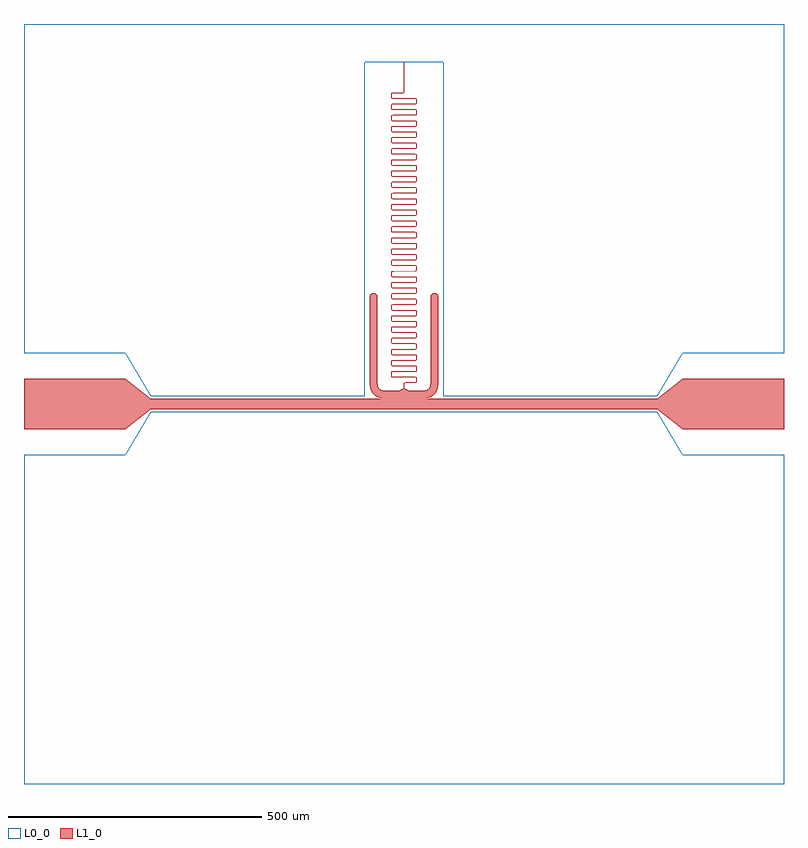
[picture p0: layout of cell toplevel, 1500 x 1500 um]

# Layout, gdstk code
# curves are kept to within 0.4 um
import gdstk
lib = gdstk.Library(unit=1e-6, precision=1e-09)
def P(c, l, *ps):  # polygons
    for p in ps: c.add(gdstk.Polygon(p, *l))
L0_0 = (0, 0)
L1_0 = (1, 0)

toplevel = lib.new_cell('toplevel')
P(toplevel, L0_0, [(77.5,675),(77.5,15),(500,15),(550,100),(750,100),(750,750),(-750,750),(-750,100),(-550,100),(-500,15),(-77.5,15),(-77.5,675)],
  [(750,-100),(550,-100),(500,-15),(-500,-15),(-550,-100),(-750,-100),(-750,-750),(750,-750)])
P(toplevel, L1_0, [(-60.327,218.493),(-63.17,217.797),(-65.53,216.067),(-67.048,213.565),(-67.5,211),(-67.466,42.294),(-66.361,32.299),(-63.309,24.269),(-59.261,18.96),(-54.07,15.101),(-47.508,12.466),(-39.892,11.211),(37.654,11.08),(46.853,12.295),(54.231,15.191),(59.678,19.38),(63.576,24.753),(66.164,31.484),(67.352,39.513),(67.5,211),(66.495,214.75),(63.17,217.797),(58.377,218.322),(54.47,216.067),(52.529,211.654),(52.486,43.498),(51.922,36.522),(50.334,31.8),(48.603,29.52),(46.053,27.837),(38.181,26.127),(-36.211,26.039),(-43.028,26.801),(-47.908,28.94),(-50.663,32.447),(-52.173,38.144),(-52.507,211.327),(-53.203,214.17),(-54.933,216.53),(-57.435,218.048)],
  [(0.5,31),(0.542,39.395),(0.892,40.54),(1.647,41.207),(3.309,41.498),(22.056,41.513),(23.416,41.743),(24.439,42.314),(25.209,43.449),(25.492,45.074),(25.462,50.413),(25.237,51.474),(24.782,52.322),(23.609,53.187),(21.852,53.495),(-22.765,53.601),(-23.43,53.83),(-23.923,54.208),(-24.254,54.752),(-24.442,55.48),(-24.486,61.057),(-24.353,61.956),(-24.056,62.621),(-23.194,63.275),(-21.742,63.497),(22.451,63.542),(23.855,63.925),(24.834,64.747),(25.365,65.971),(25.489,72.018),(25.257,73.416),(24.918,74.129),(24.422,74.7),(23.761,75.121),(22.951,75.382),(21.454,75.5),(-22.074,75.515),(-23.153,75.71),(-23.887,76.169),(-24.319,76.93),(-24.491,78.041),(-24.386,83.824),(-23.85,84.869),(-22.794,85.393),(-21.451,85.5),(22.262,85.525),(23.628,85.821),(24.627,86.496),(25.251,87.564),(25.49,89),(25.494,93.889),(25.3,95.281),(24.974,96.039),(24.488,96.642),(23.836,97.085),(23.009,97.37),(21.454,97.5),(-22.074,97.515),(-23.139,97.705),(-23.878,98.159),(-24.314,98.916),(-24.49,100.025),(-24.386,105.824),(-23.85,106.869),(-22.794,107.393),(-21.451,107.5),(22.262,107.525),(23.628,107.821),(24.627,108.496),(25.244,109.545),(25.489,110.982),(25.494,115.889),(25.3,117.281),(24.974,118.039),(24.488,118.642),(23.836,119.085),(23.009,119.37),(21.454,119.5),(-22.074,119.515),(-23.139,119.705),(-23.878,120.159),(-24.314,120.916),(-24.49,122.025),(-24.386,127.824),(-23.85,128.869),(-22.794,129.393),(-21.451,129.5),(22.262,129.525),(23.628,129.821),(24.627,130.496),(25.244,131.545),(25.488,132.963),(25.494,137.889),(25.3,139.281),(24.974,140.039),(24.488,140.642),(23.836,141.085),(23.009,141.37),(21.454,141.5),(-22.074,141.515),(-23.139,141.705),(-23.878,142.159),(-24.314,142.916),(-24.489,144.008),(-24.386,149.824),(-23.85,150.869),(-22.794,151.393),(-21.451,151.5),(22.262,151.525),(23.609,151.813),(24.612,152.48),(25.237,153.526),(25.487,154.944),(25.494,159.889),(25.3,161.281),(24.974,162.039),(24.488,162.642),(23.836,163.085),(23.009,163.37),(21.454,163.5),(-22.057,163.514),(-23.126,163.7),(-23.869,164.15),(-24.31,164.902),(-24.488,165.992),(-24.386,171.824),(-23.85,172.869),(-22.794,173.393),(-21.451,173.5),(22.262,173.525),(23.609,173.813),(24.612,174.48),(25.237,175.526),(25.486,176.926),(25.494,181.889),(25.3,183.281),(24.974,184.039),(24.488,184.642),(23.836,185.085),(23.009,185.37),(21.454,185.5),(-22.057,185.514),(-23.126,185.7),(-23.869,186.15),(-24.31,186.902),(-24.488,187.975),(-24.386,193.824),(-23.85,194.869),(-22.794,195.393),(-21.451,195.5),(22.243,195.524),(23.609,195.813),(24.597,196.465),(25.231,197.507),(25.485,198.907),(25.494,203.871),(25.3,205.281),(24.974,206.039),(24.488,206.642),(23.836,207.085),(23.009,207.37),(21.454,207.5),(-22.057,207.514),(-23.126,207.7),(-23.86,208.14),(-24.305,208.888),(-24.487,209.959),(-24.386,215.824),(-23.85,216.869),(-22.794,217.393),(-21.451,217.5),(22.243,217.524),(23.609,217.813),(24.597,218.465),(25.224,219.487),(25.484,220.888),(25.494,225.871),(25.3,227.281),(24.974,228.039),(24.488,228.642),(23.836,229.085),(23.009,229.37),(21.454,229.5),(-22.057,229.514),(-23.126,229.7),(-23.86,230.14),(-24.3,230.874),(-24.486,231.943),(-24.39,237.809),(-23.86,238.86),(-22.794,239.393),(-21.451,239.5),(22.243,239.524),(23.609,239.813),(24.597,240.465),(25.224,241.487),(25.483,242.87),(25.494,247.871),(25.306,249.261),(24.974,250.039),(24.488,250.642),(23.836,251.085),(23.009,251.37),(21.454,251.5),(-22.057,251.514),(-23.112,251.695),(-23.85,252.131),(-24.295,252.861),(-24.484,253.91),(-24.39,259.809),(-23.86,260.86),(-22.794,261.393),(-21.451,261.5),(22.243,261.524),(23.609,261.813),(24.597,262.465),(25.224,263.487),(25.482,264.851),(25.494,269.871),(25.306,271.261),(24.974,272.039),(24.488,272.642),(23.836,273.085),(23.009,273.37),(21.454,273.5),(-22.057,273.514),(-23.112,273.695),(-23.85,274.131),(-24.29,274.847),(-24.483,275.894),(-24.39,281.809),(-23.86,282.86),(-22.794,283.393),(-21.451,283.5),(22.243,283.524),(23.589,283.806),(24.582,284.449),(25.209,285.449),(25.48,286.814),(25.495,291.852),(25.306,293.261),(24.974,294.039),(24.488,294.642),(23.836,295.085),(23.009,295.37),(21.454,295.5),(-22.041,295.513),(-23.098,295.69),(-23.841,296.122),(-24.285,296.833),(-24.482,297.877),(-24.39,303.809),(-23.86,304.86),(-22.794,305.393),(-21.451,305.5),(22.243,305.524),(23.589,305.806),(24.582,306.449),(25.209,307.449),(25.479,308.795),(25.495,313.852),(25.306,315.261),(24.974,316.039),(24.488,316.642),(23.836,317.085),(23.009,317.37),(21.454,317.5),(-22.041,317.513),(-23.098,317.69),(-23.831,318.113),(-24.28,318.819),(-24.48,319.845),(-24.39,325.809),(-23.86,326.86),(-22.794,327.393),(-21.451,327.5),(22.224,327.523),(23.57,327.798),(24.567,328.433),(25.202,329.43),(25.476,330.757),(25.495,335.852),(25.306,337.261),(24.974,338.039),(24.488,338.642),(23.836,339.085),(23.009,339.37),(21.454,339.5),(-22.041,339.513),(-23.098,339.69),(-23.831,340.113),(-24.28,340.819),(-24.479,341.829),(-24.39,347.809),(-23.86,348.86),(-22.794,349.393),(-21.451,349.5),(22.224,349.523),(23.551,349.791),(24.551,350.418),(25.194,351.411),(25.475,352.738),(25.495,357.852),(25.306,359.261),(24.974,360.039),(24.488,360.642),(23.836,361.085),(23.009,361.37),(21.454,361.5),(-22.041,361.513),(-23.084,361.686),(-23.821,362.104),(-24.27,362.792),(-24.476,363.796),(-24.393,369.794),(-23.86,370.86),(-22.794,371.393),(-21.451,371.5),(22.224,371.523),(23.551,371.791),(24.551,372.418),(25.187,373.391),(25.472,374.701),(25.495,379.834),(25.311,381.242),(24.985,382.021),(24.488,382.642),(23.836,383.085),(23.009,383.37),(21.454,383.5),(-22.025,383.512),(-23.07,383.681),(-23.812,384.095),(-24.264,384.779),(-24.474,385.764),(-24.393,391.794),(-23.86,392.86),(-22.794,393.393),(-21.451,393.5),(22.224,393.523),(23.551,393.791),(24.535,394.403),(25.179,395.372),(25.469,396.663),(25.496,401.816),(25.311,403.242),(24.985,404.021),(24.488,404.642),(23.836,405.085),(23.009,405.37),(21.454,405.5),(-22.025,405.512),(-23.07,405.681),(-23.802,406.086),(-24.259,406.765),(-24.471,407.732),(-24.393,413.794),(-23.86,414.86),(-22.794,415.393),(-21.451,415.5),(22.205,415.521),(23.532,415.784),(24.52,416.388),(25.163,417.334),(25.464,418.606),(25.496,423.816),(25.311,425.242),(24.985,426.021),(24.488,426.642),(23.836,427.085),(23.009,427.37),(21.454,427.5),(-22.025,427.512),(-23.056,427.677),(-23.792,428.077),(-24.248,428.738),(-24.467,429.684),(-24.396,435.779),(-23.86,436.86),(-22.794,437.393),(-21.451,437.5),(22.205,437.521),(23.513,437.776),(24.504,438.373),(25.155,439.315),(25.46,440.568),(25.496,445.797),(25.317,447.223),(24.996,448.003),(24.504,448.627),(23.836,449.085),(23.009,449.37),(21.454,449.5),(-22.008,449.512),(-23.042,449.672),(-23.782,450.068),(-24.237,450.712),(-24.462,451.636),(-24.396,457.779),(-23.86,458.86),(-22.794,459.393),(-21.451,459.5),(22.186,459.52),(23.493,459.769),(24.488,460.358),(25.138,461.277),(25.454,462.511),(25.496,467.779),(25.317,469.223),(24.996,470.003),(24.504,470.627),(23.836,471.085),(23.009,471.37),(21.454,471.5),(-22.008,471.512),(-23.027,471.668),(-23.762,472.051),(-24.219,472.673),(-24.456,473.589),(-24.396,479.779),(-23.86,480.86),(-22.779,481.396),(22.186,481.52),(23.493,481.769),(24.471,482.343),(25.121,483.239),(25.445,484.434),(25.497,489.743),(25.322,491.203),(24.996,492.003),(24.504,492.627),(23.836,493.085),(23.009,493.37),(21.454,493.5),(-21.992,493.511),(-23.013,493.664),(-23.741,494.034),(-24.207,494.647),(-24.449,495.526),(-24.399,501.765),(-23.86,502.86),(-22.779,503.396),(22.168,503.519),(23.455,503.756),(24.439,504.314),(25.094,505.183),(25.435,506.358),(25.498,511.706),(25.327,513.184),(25.006,513.984),(24.52,514.612),(23.855,515.075),(23.029,515.365),(21.454,515.5),(-21.975,515.51),(-22.985,515.655),(-23.72,516.017),(-24.189,516.608),(-24.44,517.464),(-24.399,523.765),(-23.86,524.86),(-22.779,525.396),(-21.451,525.5),(22.149,525.518),(23.436,525.749),(24.406,526.286),(25.066,527.127),(25.421,528.261),(25.498,533.67),(25.332,535.165),(25.016,535.966),(24.52,536.612),(23.855,537.075),(23.029,537.365),(21.454,537.5),(-21.975,537.51),(-22.97,537.651),(-23.699,538),(-24.163,538.558),(-24.425,539.372),(-24.403,545.75),(-23.869,546.85),(-22.779,547.396),(-21.434,547.5),(22.13,547.517),(23.397,547.736),(24.356,548.245),(25.027,549.052),(25.401,550.146),(25.499,555.598),(25.337,557.145),(25.027,557.948),(24.535,558.597),(23.873,559.066),(23.029,559.365),(21.454,559.5),(-21.942,559.509),(-22.927,559.639),(-23.655,559.968),(-24.129,560.496),(-24.406,561.265),(-24.406,567.735),(-23.869,568.85),(-22.779,569.396),(-21.434,569.5),(22.112,569.516),(23.339,569.717),(24.305,570.205),(24.974,570.961),(25.37,571.991),(25.5,577.49),(25.342,579.126),(25.027,579.948),(24.535,580.597),(23.873,581.066),(23.029,581.365),(21.454,581.5),(-21.926,581.508),(-22.898,581.632),(-23.61,581.937),(-24.086,582.425),(-24.379,583.146),(-24.5,584.497),(-24.412,589.704),(-23.878,590.841),(-22.779,591.396),(-21.434,591.5),(22.074,591.514),(23.281,591.7),(24.218,592.141),(24.895,592.835),(25.322,593.797),(25.5,595.51),(25.495,599.852),(25.352,601.087),(25.037,601.929),(24.551,602.582),(23.873,603.066),(23.029,603.365),(21.454,603.5),(-21.892,603.507),(-22.839,603.617),(-23.54,603.892),(-24.016,604.323),(-24.332,604.973),(-24.497,606.275),(-24.451,611.458),(-24.071,612.598),(-23.288,613.237),(-21.674,613.498),(-2.587,613.538),(-1.584,613.743),(-0.782,614.141),(-0.179,614.73),(0.237,615.526),(0.5,617.51),(0.5,675),(-0.5,675),(-0.5,617.531),(-0.705,615.861),(-1,615.301),(-1.425,614.914),(-2.812,614.522),(-21.761,614.497),(-22.854,614.401),(-23.742,614.13),(-24.859,613.218),(-25.417,611.758),(-25.497,606.257),(-25.288,604.68),(-24.846,603.764),(-24.165,603.105),(-23.242,602.689),(-22.056,602.513),(22.779,602.396),(23.878,601.841),(24.414,600.689),(24.499,595.411),(24.357,594.059),(24.056,593.379),(23.575,592.914),(22.868,592.624),(21.909,592.508),(-21.454,592.5),(-23.029,592.365),(-23.873,592.066),(-24.551,591.582),(-25.037,590.929),(-25.347,590.106),(-25.5,588.348),(-25.495,584.148),(-25.352,582.913),(-24.941,581.906),(-24.27,581.179),(-23.32,580.712),(-22.093,580.515),(22.779,580.396),(23.878,579.841),(24.409,578.719),(24.5,573.566),(24.393,572.206),(24.108,571.46),(23.632,570.952),(22.912,570.635),(21.942,570.509),(-21.454,570.5),(-23.029,570.365),(-23.873,570.066),(-24.535,569.597),(-25.027,568.948),(-25.337,568.145),(-25.499,566.562),(-25.386,561.068),(-25.006,560.016),(-24.339,559.231),(-23.378,558.73),(-22.13,558.517),(22.779,558.396),(23.869,557.85),(24.406,556.735),(24.417,550.326),(24.15,549.533),(23.677,548.984),(22.956,548.647),(21.959,548.509),(-21.454,548.5),(-23.029,548.365),(-23.855,548.075),(-24.52,547.612),(-25.016,546.966),(-25.332,546.165),(-25.499,544.634),(-25.411,539.204),(-25.047,538.09),(-24.389,537.272),(-23.416,536.743),(-22.149,536.518),(22.779,536.396),(23.869,535.85),(24.403,534.75),(24.433,528.418),(24.176,527.583),(23.709,527.008),(22.985,526.655),(21.975,526.51),(-21.454,526.5),(-23.029,526.365),(-23.855,526.075),(-24.52,525.612),(-25.006,524.984),(-25.327,524.184),(-25.498,522.706),(-25.429,517.319),(-25.085,516.164),(-24.422,515.3),(-23.455,514.756),(-22.168,514.519),(22.779,514.396),(23.86,513.86),(24.399,512.765),(24.444,506.495),(24.201,505.634),(23.741,505.034),(23.013,504.664),(21.992,504.511),(-21.454,504.5),(-23.029,504.365),(-23.855,504.075),(-24.52,503.612),(-25.006,502.984),(-25.322,502.203),(-25.497,500.743),(-25.44,495.396),(-25.103,494.202),(-24.455,493.329),(-23.474,492.763),(-22.168,492.519),(22.779,492.396),(23.86,491.86),(24.396,490.779),(24.453,484.558),(24.213,483.66),(23.751,483.042),(23.013,482.664),(21.992,482.511),(-21.454,482.5),(-23.009,482.37),(-23.836,482.085),(-24.504,481.627),(-24.996,481.003),(-25.317,480.223),(-25.497,478.761),(-25.45,473.473),(-25.121,472.239),(-24.471,471.343),(-23.493,470.769),(-22.186,470.52),(22.779,470.396),(23.86,469.86),(24.396,468.779),(24.46,462.621),(24.231,461.699),(23.772,461.059),(23.042,460.672),(22.008,460.512),(-21.454,460.5),(-23.009,460.37),(-23.836,460.085),(-24.504,459.627),(-24.996,459.003),(-25.317,458.223),(-25.496,456.779),(-25.456,451.53),(-25.138,450.277),(-24.488,449.358),(-23.493,448.769),(-22.186,448.52),(22.779,448.396),(23.86,447.86),(24.393,446.794),(24.465,440.668),(24.242,439.725),(23.782,439.068),(23.042,438.672),(22.008,438.512),(-21.454,438.5),(-23.009,438.37),(-23.836,438.085),(-24.504,437.627),(-24.996,437.003),(-25.317,436.223),(-25.496,434.797),(-25.462,429.587),(-25.163,428.334),(-24.52,427.388),(-23.532,426.784),(-22.205,426.521),(21.451,426.5),(22.794,426.393),(23.86,425.86),(24.396,424.779),(24.468,418.7),(24.254,417.752),(23.802,417.086),(23.07,416.681),(22.025,416.512),(-21.454,416.5),(-23.009,416.37),(-23.836,416.085),(-24.488,415.642),(-24.985,415.021),(-25.311,414.242),(-25.496,412.816),(-25.467,407.644),(-25.171,406.353),(-24.52,405.388),(-23.532,404.784),(-22.205,404.521),(21.451,404.5),(22.794,404.393),(23.86,403.86),(24.393,402.794),(24.472,396.748),(24.259,395.765),(23.812,395.095),(23.07,394.681),(22.025,394.512),(-21.454,394.5),(-23.009,394.37),(-23.836,394.085),(-24.488,393.642),(-24.985,393.021),(-25.311,392.242),(-25.496,390.816),(-25.47,385.682),(-25.179,384.372),(-24.535,383.403),(-23.551,382.791),(-22.224,382.523),(21.451,382.5),(22.794,382.393),(23.86,381.86),(24.393,380.794),(24.475,374.78),(24.27,373.792),(23.821,373.104),(23.084,372.686),(22.025,372.512),(-21.454,372.5),(-23.009,372.37),(-23.836,372.085),(-24.488,371.642),(-24.985,371.021),(-25.311,370.242),(-25.495,368.834),(-25.473,363.72),(-25.187,362.391),(-24.551,361.418),(-23.551,360.791),(-22.224,360.523),(21.451,360.5),(22.794,360.393),(23.86,359.86),(24.393,358.794),(24.478,352.812),(24.275,351.806),(23.831,351.113),(23.098,350.69),(22.041,350.513),(-21.454,350.5),(-23.009,350.37),(-23.836,350.085),(-24.488,349.642),(-24.974,349.039),(-25.306,348.261),(-25.495,346.852),(-25.476,341.757),(-25.202,340.43),(-24.567,339.433),(-23.57,338.798),(-22.224,338.523),(21.451,338.5),(22.794,338.393),(23.86,337.86),(24.39,336.809),(24.479,330.829),(24.28,329.819),(23.831,329.113),(23.098,328.69),(22.041,328.513),(-21.454,328.5),(-23.009,328.37),(-23.836,328.085),(-24.488,327.642),(-24.974,327.039),(-25.306,326.261),(-25.495,324.852),(-25.477,319.776),(-25.202,318.43),(-24.567,317.433),(-23.57,316.798),(-22.224,316.523),(21.451,316.5),(22.794,316.393),(23.86,315.86),(24.39,314.809),(24.481,308.861),(24.285,307.833),(23.841,307.122),(23.098,306.69),(22.041,306.513),(-21.454,306.5),(-23.009,306.37),(-23.836,306.085),(-24.488,305.642),(-24.974,305.039),(-25.306,304.261),(-25.495,302.852),(-25.48,297.814),(-25.209,296.449),(-24.582,295.449),(-23.589,294.806),(-22.243,294.524),(21.451,294.5),(22.794,294.393),(23.86,293.86),(24.39,292.809),(24.483,286.894),(24.29,285.847),(23.85,285.131),(23.112,284.695),(22.057,284.514),(-21.454,284.5),(-23.009,284.37),(-23.836,284.085),(-24.488,283.642),(-24.974,283.039),(-25.306,282.261),(-25.495,280.852),(-25.481,275.832),(-25.216,274.468),(-24.582,273.449),(-23.589,272.806),(-22.243,272.524),(21.451,272.5),(22.794,272.393),(23.86,271.86),(24.39,270.809),(24.484,264.91),(24.295,263.861),(23.85,263.131),(23.112,262.695),(22.057,262.514),(-21.454,262.5),(-23.009,262.37),(-23.836,262.085),(-24.488,261.642),(-24.974,261.039),(-25.306,260.261),(-25.494,258.871),(-25.482,253.851),(-25.224,252.487),(-24.597,251.465),(-23.609,250.813),(-22.243,250.524),(21.451,250.5),(22.794,250.393),(23.86,249.86),(24.39,248.809),(24.485,242.926),(24.3,241.874),(23.86,241.14),(23.126,240.7),(22.057,240.514),(-21.454,240.5),(-23.009,240.37),(-23.836,240.085),(-24.488,239.642),(-24.974,239.039),(-25.3,238.281),(-25.494,236.871),(-25.484,231.888),(-25.224,230.487),(-24.597,229.465),(-23.609,228.813),(-22.243,228.524),(21.451,228.5),(22.794,228.393),(23.86,227.86),(24.39,226.809),(24.486,220.943),(24.3,219.874),(23.86,219.14),(23.126,218.7),(22.057,218.514),(-21.454,218.5),(-23.009,218.37),(-23.836,218.085),(-24.488,217.642),(-24.974,217.039),(-25.3,216.281),(-25.494,214.871),(-25.485,209.907),(-25.231,208.507),(-24.597,207.465),(-23.609,206.813),(-22.243,206.524),(21.451,206.5),(22.794,206.393),(23.85,205.869),(24.386,204.824),(24.487,198.959),(24.305,197.888),(23.86,197.14),(23.126,196.7),(22.057,196.514),(-21.454,196.5),(-23.009,196.37),(-23.836,196.085),(-24.488,195.642),(-24.974,195.039),(-25.3,194.281),(-25.494,192.889),(-25.486,187.926),(-25.237,186.526),(-24.612,185.48),(-23.609,184.813),(-22.262,184.525),(21.451,184.5),(22.794,184.393),(23.85,183.869),(24.386,182.824),(24.488,176.975),(24.31,175.902),(23.869,175.15),(23.126,174.7),(22.057,174.514),(-21.454,174.5),(-23.009,174.37),(-23.836,174.085),(-24.488,173.642),(-24.974,173.039),(-25.3,172.281),(-25.494,170.889),(-25.487,165.944),(-25.237,164.526),(-24.612,163.48),(-23.609,162.813),(-22.262,162.525),(21.451,162.5),(22.794,162.393),(23.85,161.869),(24.386,160.824),(24.488,154.992),(24.31,153.902),(23.869,153.15),(23.126,152.7),(22.057,152.514),(-21.454,152.5),(-23.009,152.37),(-23.836,152.085),(-24.488,151.642),(-24.974,151.039),(-25.3,150.281),(-25.494,148.889),(-25.488,143.963),(-25.244,142.545),(-24.627,141.496),(-23.628,140.821),(-22.262,140.525),(21.451,140.5),(22.794,140.393),(23.85,139.869),(24.386,138.824),(24.489,133.008),(24.314,131.916),(23.878,131.159),(23.139,130.705),(22.074,130.515),(-21.454,130.5),(-23.009,130.37),(-23.836,130.085),(-24.488,129.642),(-24.974,129.039),(-25.3,128.281),(-25.494,126.889),(-25.488,121.963),(-25.244,120.545),(-24.627,119.496),(-23.628,118.821),(-22.262,118.525),(21.451,118.5),(22.794,118.393),(23.85,117.869),(24.386,116.824),(24.49,111.025),(24.314,109.916),(23.878,109.159),(23.139,108.705),(22.074,108.515),(-21.454,108.5),(-23.009,108.37),(-23.836,108.085),(-24.488,107.642),(-24.974,107.039),(-25.3,106.281),(-25.494,104.889),(-25.489,99.982),(-25.244,98.545),(-24.627,97.496),(-23.628,96.821),(-22.262,96.525),(21.451,96.5),(22.794,96.393),(23.85,95.869),(24.386,94.824),(24.491,89.041),(24.319,87.93),(23.887,87.169),(23.153,86.71),(22.074,86.515),(-21.454,86.5),(-23.009,86.37),(-23.836,86.085),(-24.488,85.642),(-24.974,85.039),(-25.3,84.281),(-25.494,82.889),(-25.49,78),(-25.251,76.564),(-24.627,75.496),(-23.628,74.821),(-22.262,74.525),(22.75,74.403),(23.812,73.905),(24.365,72.912),(24.495,71.826),(24.5,67.74),(24.412,66.296),(24.048,65.368),(23.353,64.793),(22.284,64.53),(-21.871,64.494),(-23.685,64.155),(-24.373,63.742),(-24.883,63.183),(-25.294,62.3),(-25.479,61.205),(-25.411,55.204),(-25.13,54.258),(-24.642,53.512),(-23.948,52.973),(-23.068,52.644),(-21.472,52.5),(21.758,52.497),(23.139,52.295),(24,51.699),(24.328,51.042),(24.48,50.155),(24.475,44.78),(24.115,43.472),(23.275,42.758),(21.657,42.502),(2.963,42.488),(1.603,42.264),(0.594,41.714),(-0.121,40.761),(-0.46,39.432),(-0.5,31)],
  [(10,26),(0.5,31),(-0.5,31),(-10,26)],
  [(-500,10),(-550,50),(-750,50),(-750,-50),(-550,-50),(-500,-10),(500,-10),(550,-50),(750,-50),(750,50),(550,50),(500,10)])

lib.write_gds('toplevel.gds')
